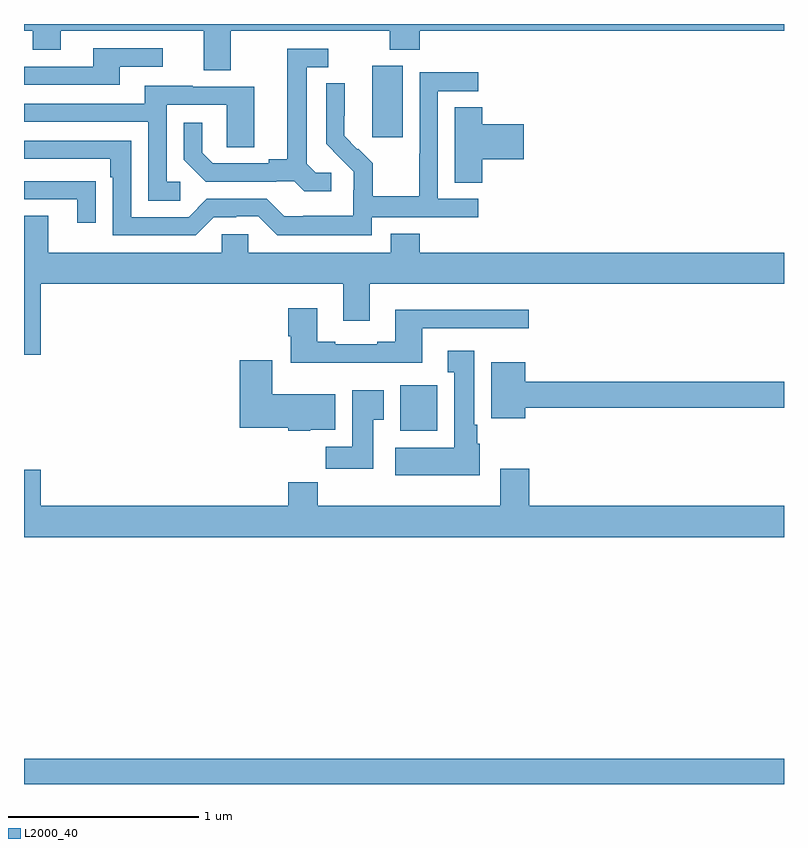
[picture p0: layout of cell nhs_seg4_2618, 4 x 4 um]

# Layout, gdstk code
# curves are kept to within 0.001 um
import gdstk
lib = gdstk.Library(unit=1e-6, precision=1e-09)
def R(c, l, rs):  # rectangles x0, y0, x1, y1
    for r in rs: c.add(gdstk.rectangle(r[:2], r[2:], *l))
def P(c, l, *ps):  # polygons
    for p in ps: c.add(gdstk.Polygon(p, *l))
L2000_40 = (2000, 40)

nhs_seg4_2618 = lib.new_cell('nhs_seg4_2618')
R(nhs_seg4_2618, L2000_40, [(249,748.9,253,749.032), (250.979,750.758,251.176,751), (250.832,752.304,250.993,752.68)])
P(nhs_seg4_2618, L2000_40, [(250.087,752.864),(250.924,752.864),(250.924,752.765),(251.084,752.765),(251.084,752.864),(253,752.864),(253,752.9),(249,752.9),(249,752.864),(249.046,752.864),(249.046,752.765),(249.193,752.765),(249.193,752.864),(249.947,752.864),(249.947,752.656),(250.087,752.656)],
  [(249.505,752.676),(249.73,752.676),(249.73,752.772),(249.365,752.772),(249.365,752.676),(249,752.676),(249,752.58),(249.505,752.58)],
  [(250.618,752.118),(250.536,752.118),(250.489,752.165),(250.489,752.673),(250.6,752.673),(250.6,752.769),(250.385,752.769),(250.385,752.189),(250.289,752.189),(250.289,752.166),(249.994,752.166),(249.937,752.223),(249.937,752.38),(249.84,752.38),(249.84,752.186),(249.956,752.07),(250.328,752.07),(250.328,752.073),(250.422,752.073),(250.474,752.021),(250.618,752.021)],
  [(250.83,751.884),(251.392,751.884),(251.392,751.98),(251.178,751.98),(251.178,752.547),(251.392,752.547),(251.392,752.646),(251.082,752.646),(251.082,752.216),(251.08,752.216),(251.08,751.993),(250.835,751.993),(250.835,752.167),(250.758,752.244),(250.755,752.241),(250.685,752.312),(250.685,752.416),(250.687,752.416),(250.687,752.588),(250.59,752.588),(250.59,752.27),(250.736,752.122),(250.736,752.025),(250.734,752.025),(250.734,751.891),(250.471,751.891),(250.471,751.887),(250.371,751.887),(250.278,751.98),(249.963,751.98),(249.867,751.884),(249.564,751.884),(249.564,752.286),(249,752.286),(249,752.19),(249.455,752.19),(249.455,752.093),(249.468,752.093),(249.468,751.788),(249.903,751.788),(249.999,751.884),(250.118,751.884),(250.118,751.887),(250.233,751.887),(250.333,751.787),(250.83,751.787)],
  [(249.823,752.07),(249.75,752.07),(249.75,752.475),(250.068,752.475),(250.068,752.251),(250.213,752.251),(250.213,752.571),(249.889,752.571),(249.889,752.575),(249.635,752.575),(249.635,752.481),(249,752.481),(249,752.385),(249.654,752.385),(249.654,751.969),(249.823,751.969)],
  [(251.411,752.189),(251.629,752.189),(251.629,752.372),(251.411,752.372),(251.411,752.462),(251.267,752.462),(251.267,752.065),(251.411,752.065)],
  [(249.377,752.072),(249.275,752.072),(249.275,752.073),(249,752.073),(249,751.977),(249.281,751.977),(249.281,751.854),(249.377,751.854)],
  [(249.088,751.532),(250.679,751.532),(250.679,751.338),(250.819,751.338),(250.819,751.532),(253,751.532),(253,751.696),(251.084,751.696),(251.084,751.795),(250.931,751.795),(250.931,751.696),(250.179,751.696),(250.179,751.794),(250.041,751.794),(250.041,751.696),(249.127,751.696),(249.127,751.891),(249,751.891),(249,751.158),(249.088,751.158)],
  [(251.095,751.299),(251.656,751.299),(251.656,751.396),(250.955,751.396),(250.955,751.228),(250.859,751.228),(250.859,751.215),(250.639,751.215),(250.639,751.228),(250.543,751.228),(250.543,751.405),(250.391,751.405),(250.391,751.257),(250.403,751.257),(250.403,751.118),(251.095,751.118)],
  [(251.398,750.69),(251.386,750.69),(251.386,750.79),(251.371,750.79),(251.371,751.18),(251.231,751.18),(251.231,751.067),(251.264,751.067),(251.264,750.67),(250.955,750.67),(250.955,750.524),(251.398,750.524)],
  [(250.506,750.764),(250.639,750.764),(250.639,750.952),(250.306,750.952),(250.306,751.129),(250.136,751.129),(250.136,750.776),(250.392,750.776),(250.392,750.758),(250.506,750.758)],
  [(251.638,750.88),(253,750.88),(253,751.016),(251.638,751.016),(251.638,751.12),(251.459,751.12),(251.459,750.824),(251.638,750.824)],
  [(250.837,750.817),(250.894,750.817),(250.894,750.973),(250.727,750.973),(250.727,750.676),(250.588,750.676),(250.588,750.558),(250.837,750.558)],
  [(253,750.364),(251.66,750.364),(251.66,750.559),(251.507,750.559),(251.507,750.364),(250.547,750.364),(250.547,750.488),(250.391,750.488),(250.391,750.364),(249.088,750.364),(249.088,750.553),(249,750.553),(249,750.2),(253,750.2)])

lib.write_gds('nhs_seg4_2618.gds')
